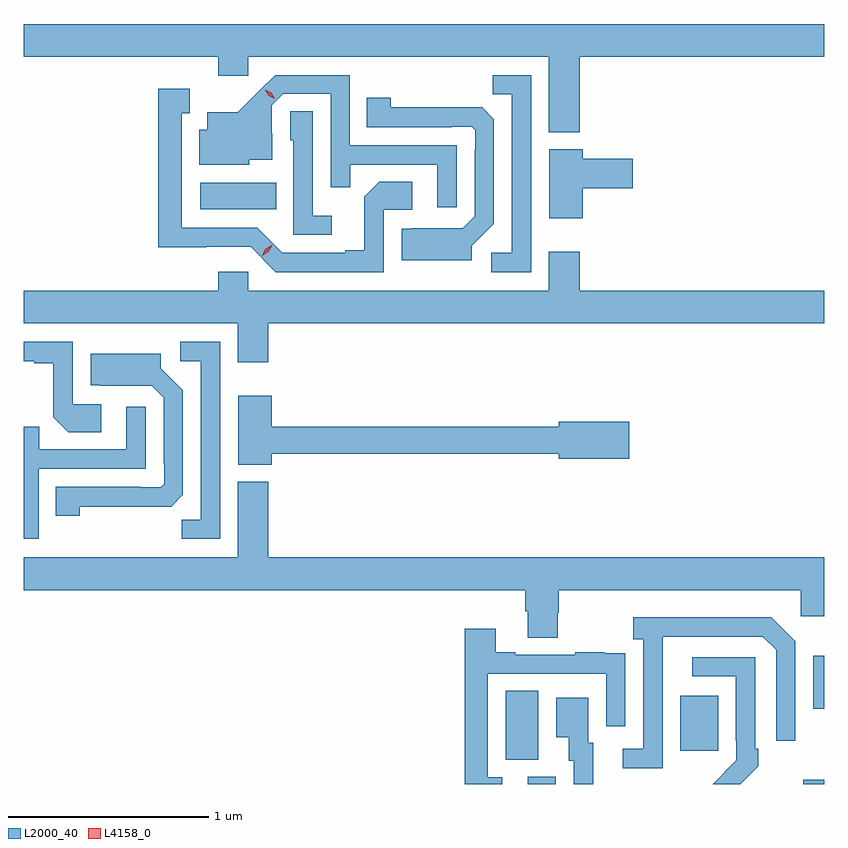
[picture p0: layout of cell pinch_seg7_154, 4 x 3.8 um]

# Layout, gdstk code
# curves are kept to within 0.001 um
import gdstk
lib = gdstk.Library(unit=1e-6, precision=1e-09)
def R(c, l, rs):  # rectangles x0, y0, x1, y1
    for r in rs: c.add(gdstk.rectangle(r[:2], r[2:], *l))
def P(c, l, *ps):  # polygons
    for p in ps: c.add(gdstk.Polygon(p, *l))
L2000_40 = (2000, 40)
L4158_0 = (4158, 0)

pinch_seg7_154 = lib.new_cell('pinch_seg7_154')
R(pinch_seg7_154, L2000_40, [(1049.879,1032.947,1050.019,1032.984), (1051.254,1032.947,1051.36,1032.967), (1049.768,1033.069,1049.932,1033.412), (1050.641,1033.113,1050.829,1033.387), (1051.304,1033.322,1051.36,1033.587), (1048.242,1035.818,1048.622,1035.952)])
P(pinch_seg7_154, L2000_40, [(1050.137,1036.58),(1051.36,1036.58),(1051.36,1036.744),(1047.36,1036.744),(1047.36,1036.58),(1048.331,1036.58),(1048.331,1036.485),(1048.482,1036.485),(1048.482,1036.58),(1049.984,1036.58),(1049.984,1036.202),(1050.137,1036.202)],
  [(1049.523,1036.137),(1048.989,1036.137),(1048.989,1036.488),(1048.616,1036.488),(1048.429,1036.303),(1048.277,1036.303),(1048.277,1036.216),(1048.238,1036.216),(1048.238,1036.04),(1048.488,1036.04),(1048.488,1036.067),(1048.603,1036.067),(1048.603,1036.196),(1048.599,1036.196),(1048.599,1036.338),(1048.656,1036.395),(1048.893,1036.395),(1048.893,1035.928),(1048.991,1035.928),(1048.991,1036.041),(1049.427,1036.041),(1049.427,1035.828),(1049.523,1035.828)],
  [(1049.895,1036.488),(1049.704,1036.488),(1049.704,1036.393),(1049.799,1036.393),(1049.799,1035.6),(1049.697,1035.6),(1049.697,1035.504),(1049.895,1035.504)],
  [(1049.16,1035.816),(1049.302,1035.816),(1049.302,1035.956),(1049.137,1035.956),(1049.061,1035.88),(1049.061,1035.613),(1048.967,1035.613),(1048.967,1035.6),(1048.653,1035.6),(1048.527,1035.726),(1048.15,1035.726),(1048.15,1036.299),(1048.189,1036.299),(1048.189,1036.42),(1048.032,1036.42),(1048.032,1035.629),(1048.494,1035.63),(1048.62,1035.504),(1049.16,1035.504)],
  [(1049.599,1035.636),(1049.709,1035.746),(1049.709,1036.268),(1049.65,1036.327),(1049.193,1036.328),(1049.193,1036.375),(1049.074,1036.375),(1049.074,1036.227),(1049.498,1036.227),(1049.498,1036.23),(1049.598,1036.23),(1049.616,1036.212),(1049.616,1036.112),(1049.613,1036.112),(1049.613,1035.783),(1049.553,1035.723),(1049.296,1035.724),(1049.293,1035.721),(1049.249,1035.721),(1049.249,1035.563),(1049.599,1035.563)],
  [(1048.9,1035.787),(1048.803,1035.787),(1048.803,1036.307),(1048.692,1036.307),(1048.692,1036.164),(1048.707,1036.164),(1048.707,1035.69),(1048.9,1035.69)],
  [(1050.154,1035.923),(1050.403,1035.923),(1050.403,1036.07),(1050.154,1036.07),(1050.154,1036.117),(1049.987,1036.117),(1049.987,1035.774),(1050.154,1035.774)],
  [(1048.583,1035.248),(1051.36,1035.248),(1051.36,1035.412),(1050.137,1035.412),(1050.137,1035.607),(1049.984,1035.607),(1049.984,1035.412),(1048.482,1035.412),(1048.482,1035.505),(1048.331,1035.505),(1048.331,1035.412),(1047.36,1035.412),(1047.36,1035.248),(1048.43,1035.248),(1048.43,1035.054),(1048.583,1035.054)],
  [(1047.748,1034.844),(1047.606,1034.844),(1047.606,1035.156),(1047.36,1035.156),(1047.36,1035.06),(1047.413,1035.06),(1047.413,1035.048),(1047.507,1035.048),(1047.507,1034.78),(1047.583,1034.704),(1047.748,1034.704)],
  [(1048.341,1035.156),(1048.143,1035.156),(1048.143,1035.06),(1048.245,1035.06),(1048.245,1034.267),(1048.15,1034.267),(1048.15,1034.172),(1048.341,1034.172)],
  [(1047.639,1034.332),(1048.096,1034.333),(1048.155,1034.392),(1048.155,1034.914),(1048.045,1035.024),(1048.045,1035.097),(1047.695,1035.097),(1047.695,1034.939),(1047.739,1034.939),(1047.742,1034.936),(1047.999,1034.937),(1048.059,1034.877),(1048.059,1034.548),(1048.062,1034.548),(1048.062,1034.448),(1048.044,1034.43),(1047.944,1034.43),(1047.944,1034.433),(1047.52,1034.433),(1047.52,1034.286),(1047.639,1034.286)],
  [(1048.6,1034.596),(1050.032,1034.596),(1050.032,1034.573),(1050.385,1034.573),(1050.385,1034.756),(1050.032,1034.756),(1050.032,1034.732),(1048.6,1034.732),(1048.6,1034.887),(1048.433,1034.887),(1048.433,1034.543),(1048.6,1034.543)],
  [(1047.435,1034.523),(1047.969,1034.523),(1047.969,1034.833),(1047.873,1034.833),(1047.873,1034.619),(1047.437,1034.619),(1047.437,1034.732),(1047.36,1034.732),(1047.36,1034.172),(1047.435,1034.172)],
  [(1050.027,1033.803),(1050.032,1033.803),(1050.032,1033.916),(1051.242,1033.916),(1051.242,1033.785),(1051.36,1033.785),(1051.36,1034.08),(1048.583,1034.08),(1048.583,1034.458),(1048.43,1034.458),(1048.43,1034.08),(1047.36,1034.08),(1047.36,1033.916),(1049.867,1033.916),(1049.867,1033.81),(1049.879,1033.81),(1049.879,1033.678),(1050.027,1033.678)],
  [(1050.552,1033.483),(1050.553,1033.683),(1051.053,1033.683),(1051.119,1033.617),(1051.119,1033.164),(1051.215,1033.164),(1051.215,1033.659),(1051.094,1033.78),(1050.405,1033.78),(1050.405,1033.67),(1050.456,1033.67),(1050.456,1033.122),(1050.354,1033.122),(1050.354,1033.026),(1050.552,1033.026)],
  [(1049.752,1032.981),(1049.679,1032.981),(1049.679,1033.497),(1050.27,1033.497),(1050.27,1033.236),(1050.366,1033.236),(1050.366,1033.49),(1050.365,1033.49),(1050.365,1033.599),(1050.263,1033.599),(1050.263,1033.606),(1050.115,1033.606),(1050.115,1033.593),(1049.815,1033.593),(1049.815,1033.606),(1049.719,1033.606),(1049.719,1033.723),(1049.563,1033.723),(1049.563,1032.947),(1049.752,1032.947)],
  [(1051.029,1033.035),(1051.029,1033.123),(1051.014,1033.123),(1051.014,1033.581),(1050.699,1033.581),(1050.699,1033.485),(1050.918,1033.485),(1050.918,1033.165),(1050.921,1033.165),(1050.921,1033.065),(1050.803,1032.947),(1050.941,1032.947)],
  [(1050.205,1033.152),(1050.181,1033.152),(1050.181,1033.378),(1050.02,1033.378),(1050.02,1033.181),(1050.083,1033.181),(1050.083,1033.062),(1050.108,1033.062),(1050.108,1032.947),(1050.205,1032.947)])
P(pinch_seg7_154, L4158_0, [(1048.614,1036.37),(1048.584,1036.385),(1048.566,1036.414),(1048.566,1036.415),(1048.566,1036.415),(1048.597,1036.4),(1048.615,1036.37),(1048.615,1036.37)],
  [(1048.551,1035.587),(1048.551,1035.588),(1048.569,1035.62),(1048.6,1035.639),(1048.601,1035.639),(1048.601,1035.638),(1048.583,1035.606),(1048.552,1035.587)])

lib.write_gds('pinch_seg7_154.gds')
